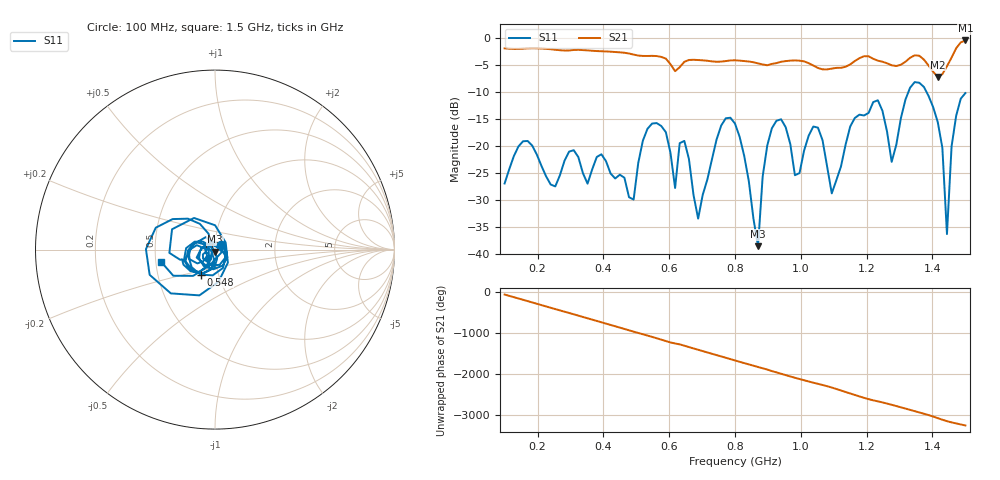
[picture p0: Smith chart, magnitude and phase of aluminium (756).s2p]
! NanoVNA-App
! Date: 2025-09-25 15:01:10
! Start: 100MHz Stop: 1,5GHz Points: 101
! S-Parameter data: F S11 S21 S12 S22
# Hz S RI R 50
!  Frequency  S11_Real  S11_Imag  S21_Real  S21_Imag  S12_Real  S12_Imag  S22_Real  S22_Imag
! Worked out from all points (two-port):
!   101 points, 100 MHz to 1.5 GHz, reference 50 ohm
!   highest |S21| = -0.45 dB at 1.5 GHz (marker M1); lowest = -7.2 dB at 1.416 GHz (marker M2)
!   |S21| within 3 dB of the highest: start of sweep to 571.5 MHz; 1.459 GHz to end of sweep (the widest 2 of 4)
!   lowest |S11| = -38.6 dB at 870 MHz (marker M3), VSWR 1.02, Z = 50 - j1.18 ohm
!   |S11| at or under -10 dB: start of sweep to 1.327 GHz; 1.382 GHz to end of sweep
!   S12 and S22 are empty: the file has one direction only
!   S11 on the Smith chart (normalised r, x): 100 MHz: 1.07, +0.06; 548 MHz: 0.82, -0.24; 1.5 GHz: 0.53, -0.08
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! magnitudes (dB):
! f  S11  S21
! 100 MHz  -27.0  -1.9
! 156 MHz  -19.1  -2.0
! 338 MHz  -25.1  -2.2
! 492 MHz  -29.9  -3.1
! 548 MHz  -15.9  -3.3
! 576 MHz  -16.3  -3.5
! 618 MHz  -27.8  -6.1
! 646 MHz  -19.1  -4.4
! 688 MHz  -33.5  -4.1
! 800 MHz  -15.9  -4.1
! 870 MHz  -38.6  -4.7
! 912 MHz  -16.7  -4.8
! 982 MHz  -25.4  -4.2
! 1.038 GHz  -16.4  -5.1
! 1.094 GHz  -28.8  -5.7
! 1.22 GHz  -11.9  -3.9
! 1.276 GHz  -23.0  -5.1
! 1.346 GHz  -8.2  -3.2
! 1.416 GHz  -15.6  -7.2
! 1.444 GHz  -36.3  -5.2
! 1.458 GHz  -20.1  -3.6
! 1.5 GHz  -10.2  -0.5
